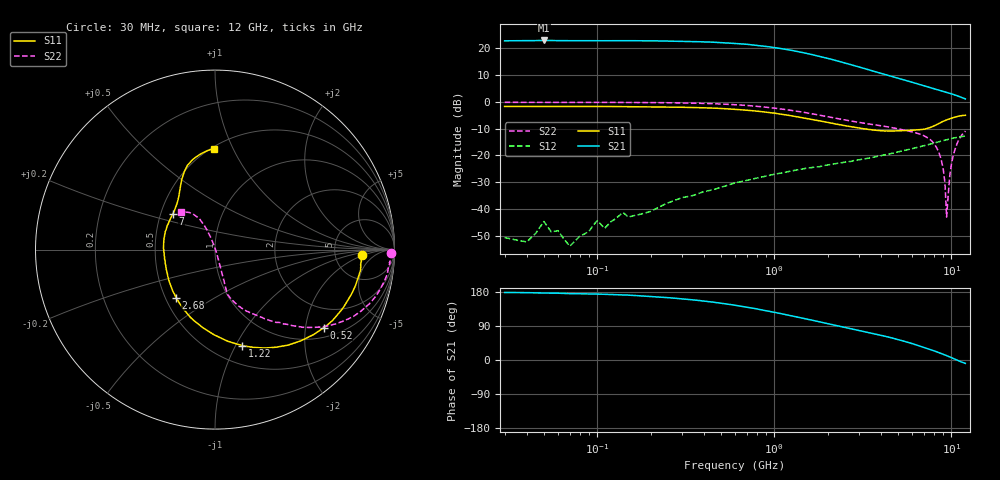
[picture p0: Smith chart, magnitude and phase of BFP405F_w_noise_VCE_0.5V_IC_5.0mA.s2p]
! Infineon Technologies  Discrete & RF Semiconductors
! BFP405F
! VCE =  0.5 V,  IC =  5.0 mA
! Common Emitter S-Parameters:  Nov 2015
# GHz  S  MA  R  50
!  f  S11  S21  S12  S22
! GHz  MAG  ANG  MAG  ANG  MAG  ANG  MAG  ANG
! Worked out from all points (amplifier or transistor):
!   239 points, 30 MHz to 12 GHz, reference 50 ohm
!   highest |S21| = 23.0 dB at 50 MHz (marker M1)
!   |S21| within 3 dB of that: start of sweep to 1.083 GHz
!   unconditionally stable (mu >= 1): 2.657 GHz to end of sweep
!   at 300 MHz: K = 0.07, MSG = 29.3 dB, |S12| = -35.9 dB
!   at 1.88 GHz: K = 0.76, MSG = 20.3 dB, |S12| = -23.9 dB
!   at 12 GHz: K = 1.46, MAG = 2.9 dB, |S12| = -12.8 dB
!   lowest NFmin = 1.29 dB at 450 MHz
!   S11 on the Smith chart (normalised r, x): 30 MHz: 9.78, -1.70; 520 MHz: 1.29, -2.52; 1.22 GHz: 0.69, -1.06; 2.68 GHz: 0.57, -0.35; 7 GHz: 0.58, +0.25; 12 GHz: 0.52, +0.84
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0.03  0.8195 -2.0  13.83 178.1  0.0029 62.7  0.979 -1.0
0.04  0.8185 -2.7  13.89 177.8  0.0024 86.9  0.9769 -1.5
0.05  0.816 -3.8  14.05 176.7  0.0058 17.0  0.9788 -2.1
0.07  0.8178 -4.7  13.91 175.2  0.002 46.1  0.9758 -2.8
0.085  0.8168 -6.2  13.9 174.6  0.0034 81.4  0.9771 -3.3
0.145  0.8137 -10.5  13.9 171.5  0.0077 84.7  0.973 -5.7
0.24  0.8022 -17.0  13.71 165.2  0.0121 80.8  0.9635 -9.7
0.36  0.7817 -25.3  13.35 158.0  0.0184 77.2  0.9429 -14.2
0.52  0.7457 -35.7  12.7 148.9  0.0263 71.8  0.9058 -20.0
0.6  0.7251 -40.8  12.34 144.5  0.0305 69.9  0.8839 -22.7
0.9  0.6413 -58.0  10.88 130.1  0.0409 64.0  0.7935 -31.3
1.22  0.5559 -74.1  9.306 117.6  0.0504 58.1  0.6998 -38.3
1.64  0.4668 -92.3  7.621 104.9  0.0593 53.6  0.5969 -44.9
2.2  0.3874 -113.7  5.991 91.7  0.0695 49.6  0.4969 -52.5
2.68  0.3444 -128.9  4.999 83.2  0.0766 47.9  0.4404 -57.0
4.5  0.2852 -173.4  3.051 59.5  0.1067 43.5  0.3357 -67.8
7  0.3072 139.8  2 33.2  0.1502 35.2  0.2325 -74.4
8.8  0.4172 116.9  1.6 16.8  0.1844 27.1  0.0783 -71.9
9.2  0.4459 113.8  1.531 13.3  0.1914 25.1  0.0306 -67.7
9.4  0.4592 112.3  1.498 11.6  0.1949 24.1  0.007 -47.3
10.2  0.5036 106.2  1.383 4.6  0.209 19.7  0.0928 111.1
12  0.5601 90.8  1.135 -8.9  0.23 11.5  0.2839 131.8
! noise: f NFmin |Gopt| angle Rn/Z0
0.45  1.29  0.38  5  0.34
0.9  1.3  0.35  13  0.36
1.5  1.37  0.33  18  0.31
1.9  1.4  0.31  25  0.32
2.4  1.56  0.29  33  0.34
3  1.63  0.27  45  0.32
3.5  1.68  0.25  54  0.31
4.5  1.84  0.2  66  0.28
5.5  2.06  0.12  78  0.11
